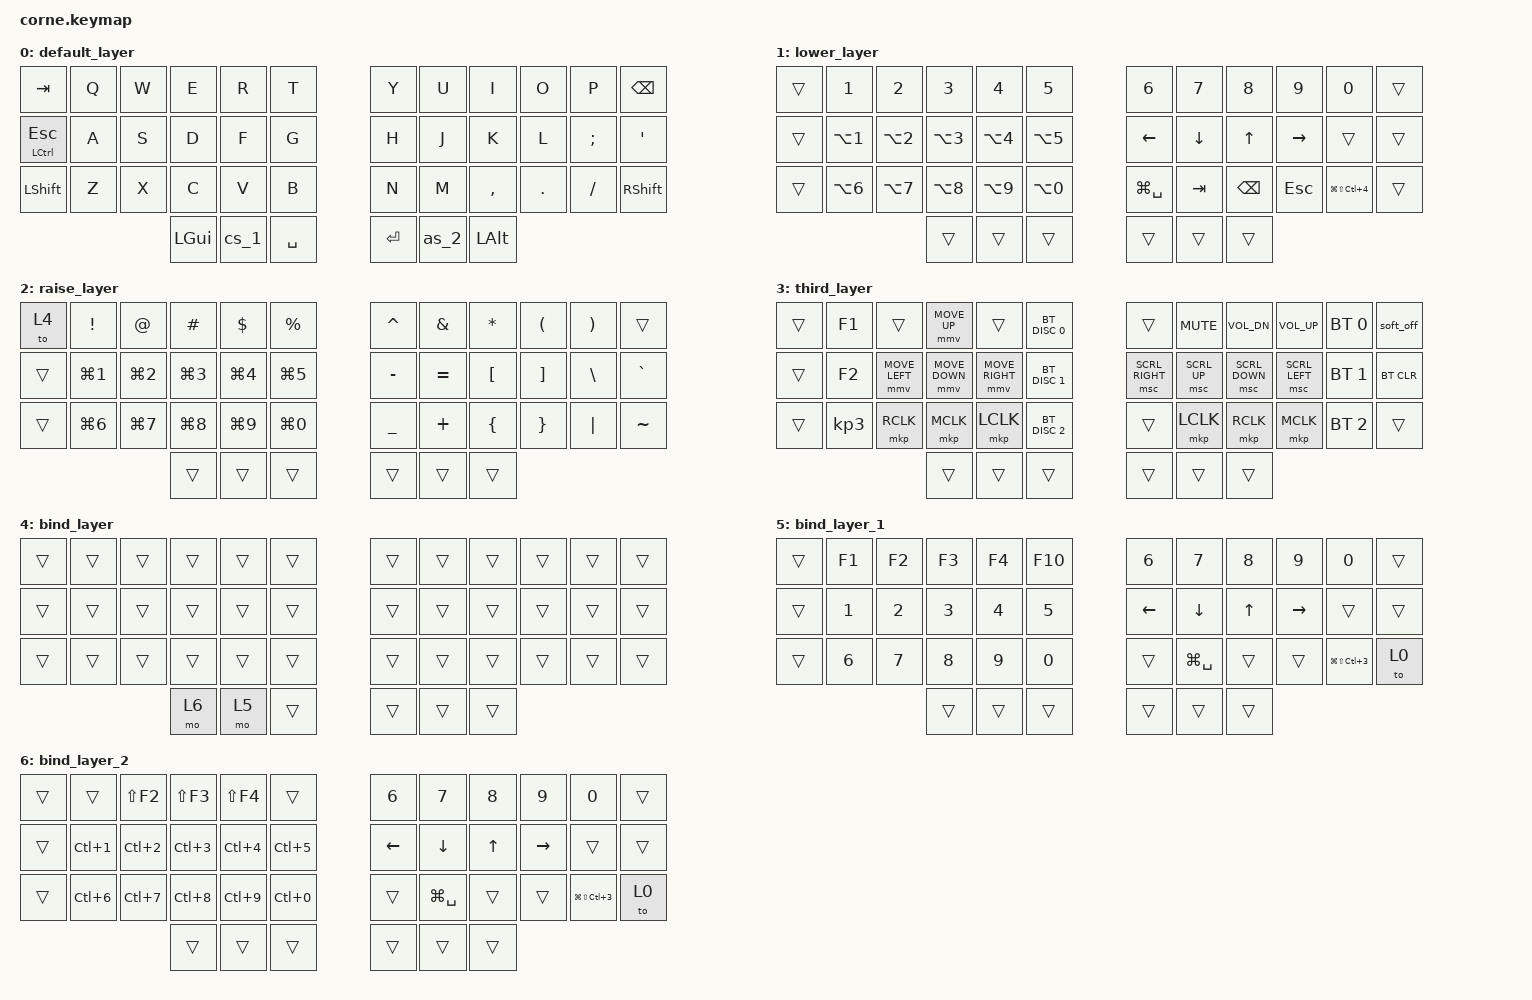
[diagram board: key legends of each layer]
/*
 * Copyright (c) 2020 The ZMK Contributors
 *
 * SPDX-License-Identifier: MIT
 */

#define ZMK_MOUSE_DEFAULT_MOVE_VAL 2400
#define ZMK_MOUSE_DEFAULT_SCRL_VAL 20

#include <behaviors.dtsi>
#include <behaviors/mouse_keys.dtsi>
#include <dt-bindings/zmk/keys.h>
#include <dt-bindings/zmk/bt.h>
#include <dt-bindings/zmk/mouse.h>
#include <dt-bindings/zmk/outputs.h>

&soft_off {
    hold-time-ms = <1000>;
};

&mmv {
    time-to-max-speed-ms = <750>;
};

/ {
    behaviors {
        cs_1: cmd_space_l1 {
            compatible = "zmk,behavior-tap-dance";
            #binding-cells = <0>;
            tapping-term-ms = <200>;
            bindings = <&mo 1>, <&kp LG(SPC)>;
        };

        as_2: alt_shift_l2 {
            compatible = "zmk,behavior-tap-dance";
            #binding-cells = <0>;
            tapping-term-ms = <200>;
            bindings = <&mo 2>, <&kp LA(LSHIFT)>;
        };
    };

    conditional_layers {
        compatible = "zmk,conditional-layers";
        tri_layer {
            if-layers = <1 2>;
            then-layer = <3>;
        };
    };

    keymap {
        compatible = "zmk,keymap";

        default_layer {
            bindings = <
    &kp TAB       &kp Q &kp W &kp E &kp R &kp T   &kp Y &kp U  &kp I     &kp O   &kp P    &kp BSPC
    &mt LCTRL ESC &kp A &kp S &kp D &kp F &kp G   &kp H &kp J  &kp K     &kp L   &kp SEMI &kp SQT
    &kp LSHFT     &kp Z &kp X &kp C &kp V &kp B   &kp N &kp M  &kp COMMA &kp DOT &kp FSLH &kp RSHIFT
                       &kp LGUI &cs_1 &kp SPACE   &kp RET &as_2 &kp LALT
            >;
        };

        lower_layer {
            bindings = <
    &trans &kp N1     &kp N2     &kp N3     &kp N4     &kp N5       &kp N6      &kp N7   &kp N8   &kp N9    &kp N0             &trans
    &trans &kp LA(N1) &kp LA(N2) &kp LA(N3) &kp LA(N4) &kp LA(N5)   &kp LEFT    &kp DOWN &kp UP   &kp RIGHT &trans             &trans
    &trans &kp LA(N6) &kp LA(N7) &kp LA(N8) &kp LA(N9) &kp LA(N0)   &kp LG(SPC) &kp TAB  &kp BSPC &kp ESC   &kp LG(LS(LC(N4))) &trans
                                 &trans     &trans     &trans       &trans      &trans   &trans
            >;
        };

        raise_layer {
            bindings = <
    &to 4  &kp EXCL   &kp AT     &kp HASH   &kp DLLR   &kp PRCNT    &kp CARET &kp AMPS  &kp ASTRK &kp LPAR &kp RPAR &trans
    &trans &kp LG(N1) &kp LG(N2) &kp LG(N3) &kp LG(N4) &kp LG(N5)   &kp MINUS &kp EQUAL &kp LBKT  &kp RBKT &kp BSLH &kp GRAVE
    &trans &kp LG(N6) &kp LG(N7) &kp LG(N8) &kp LG(N9) &kp LG(N0)   &kp UNDER &kp PLUS  &kp LBRC  &kp RBRC &kp PIPE &kp TILDE
                                 &trans     &trans     &trans       &trans    &trans    &trans
            >;
        };

        third_layer {
            bindings = <
    &trans &kp F1    &trans         &mmv MOVE_UP   &trans          &bt BT_DISC 0   &trans          &kp K_MUTE   &kp K_VOL_DN   &kp K_VOL_UP   &bt BT_SEL 0 &soft_off
    &trans &kp F2    &mmv MOVE_LEFT &mmv MOVE_DOWN &mmv MOVE_RIGHT &bt BT_DISC 1   &msc SCRL_RIGHT &msc SCRL_UP &msc SCRL_DOWN &msc SCRL_LEFT &bt BT_SEL 1 &bt BT_CLR
    &trans &kp KP_N3 &mkp RCLK      &mkp MCLK      &mkp LCLK       &bt BT_DISC 2   &trans          &mkp LCLK    &mkp RCLK      &mkp MCLK      &bt BT_SEL 2 &trans
                                    &trans         &trans          &trans          &trans          &trans       &trans
            >;
        };

        bind_layer { /* 4 */
            bindings = <
    &trans &trans &trans &trans &trans &trans     &trans &trans &trans &trans &trans &trans
    &trans &trans &trans &trans &trans &trans     &trans &trans &trans &trans &trans &trans
    &trans &trans &trans &trans &trans &trans     &trans &trans &trans &trans &trans &trans
                         &mo 6  &mo 5  &trans     &trans &trans &trans
            >;
        };

        bind_layer_1 { /* 5 */
            bindings = <
    &trans &kp F1 &kp F2 &kp F3 &kp F4 &kp F10     &kp N6   &kp N7      &kp N8 &kp N9    &kp N0             &trans
    &trans &kp N1 &kp N2 &kp N3 &kp N4 &kp N5      &kp LEFT &kp DOWN    &kp UP &kp RIGHT &trans             &trans
    &trans &kp N6 &kp N7 &kp N8 &kp N9 &kp N0      &trans   &kp LG(SPC) &trans &trans    &kp LG(LS(LC(N3))) &to 0
                         &trans &trans &trans      &trans   &trans      &trans
            >;
        };

        bind_layer_2 { /* 6 */
            bindings = <
    &trans &trans     &kp LS(F2) &kp LS(F3) &kp LS(F4) &trans         &kp N6   &kp N7      &kp N8 &kp N9    &kp N0             &trans
    &trans &kp LC(N1) &kp LC(N2) &kp LC(N3) &kp LC(N4) &kp LC(N5)     &kp LEFT &kp DOWN    &kp UP &kp RIGHT &trans             &trans
    &trans &kp LC(N6) &kp LC(N7) &kp LC(N8) &kp LC(N9) &kp LC(N0)     &trans   &kp LG(SPC) &trans &trans    &kp LG(LS(LC(N3))) &to 0
                                 &trans     &trans     &trans         &trans   &trans     &trans
            >;
        };
    };
};
